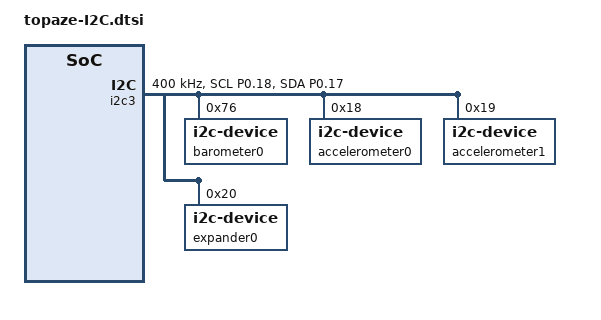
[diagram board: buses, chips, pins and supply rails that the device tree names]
/* ============================================================
 * This file is the overlay DTS for topaze that define the I2C 
 * devices
 *
 * We describe here the peripherals configuration, and so on...
 *
 * l.heywang
 * 01/03/2025
 *
 * ============================================================
 */

// ============================================================
// I2C and PINCTRL
// ============================================================
// Enable I2C and configure it
&i2c3 {
    status = "okay";
    clock-frequency = <400000>;
    pinctrl-0 = <&i2c3_topaze>;
    pinctrl-names = "default";
};

// We're using here default pins for UART0 and 1, to match the DK
// Sensors are bound to the UART 2 and 3
&pinctrl {
    i2c3_topaze: i2c3_topaze {
        group1  {
            psels = <NRF_PSEL(TWIM_SCL, 0, 18)>, // 19 on the board, here for debug !
                    <NRF_PSEL(TWIM_SDA, 0, 17)>;
		};
	};
};

// Register the devices.
&i2c3 {

    barometer0: barometer0@76{
        compatible = "i2c-device";
        status = "okay";
        reg = <0x00000076>;
    };

    accelerometer0: accelerometer0@18{
        compatible = "i2c-device";
        status = "okay";
        reg = <0x00000018>;
    };

    accelerometer1: accelerometer1@19{
        compatible = "i2c-device";
        status = "okay";
        reg = <0x00000019>;
    };

    expander0: expander0@20{
        compatible = "i2c-device";
        status = "okay";
        reg = <0x00000020>;
    };
};

// And aliases
// We only add aliases for real devices, and not only the "possibles" ones.

/ {
    aliases {
        i2c3 = &i2c3;
    };
};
